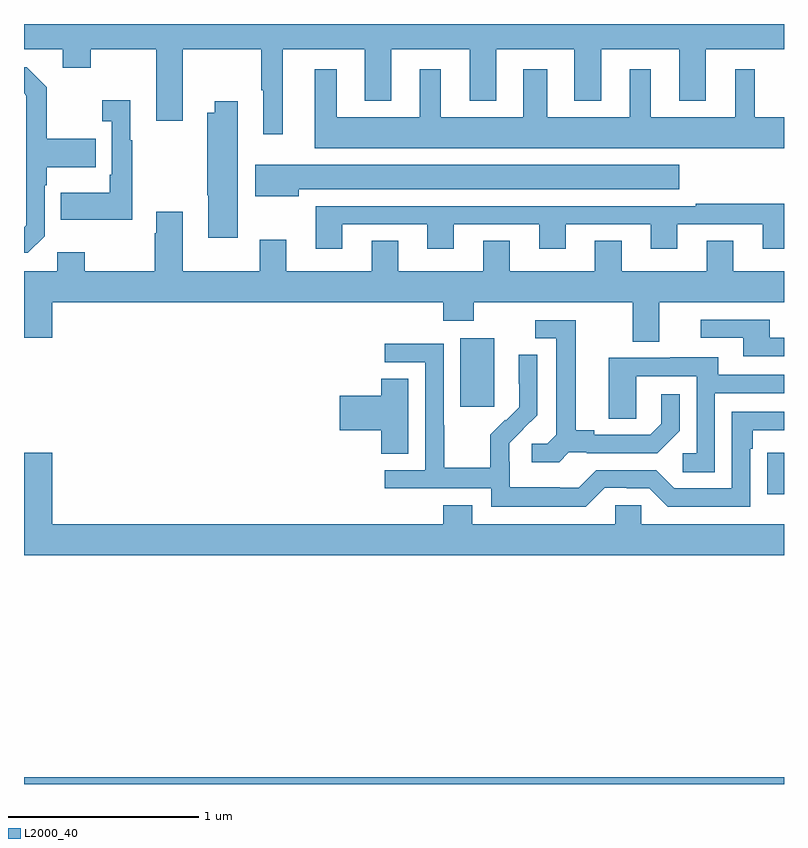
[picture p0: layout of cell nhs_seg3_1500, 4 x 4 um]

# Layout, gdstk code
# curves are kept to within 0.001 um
import gdstk
lib = gdstk.Library(unit=1e-6, precision=1e-09)
def R(c, l, rs):  # rectangles x0, y0, x1, y1
    for r in rs: c.add(gdstk.rectangle(r[:2], r[2:], *l))
def P(c, l, *ps):  # polygons
    for p in ps: c.add(gdstk.Polygon(p, *l))
L2000_40 = (2000, 40)

nhs_seg3_1500 = lib.new_cell('nhs_seg3_1500')
R(nhs_seg3_1500, L2000_40, [(189,678.4,193,678.436), (192.913,679.926,193,680.144), (191.297,680.385,191.476,680.746)])
P(nhs_seg3_1500, L2000_40, [(190.363,682.268),(190.793,682.268),(190.793,681.995),(190.933,681.995),(190.933,682.268),(191.345,682.268),(191.345,681.995),(191.485,681.995),(191.485,682.268),(191.897,682.268),(191.897,681.995),(192.037,681.995),(192.037,682.268),(192.449,682.268),(192.449,681.995),(192.589,681.995),(192.589,682.268),(193,682.268),(193,682.4),(189,682.4),(189,682.268),(189.203,682.268),(189.203,682.169),(189.351,682.169),(189.351,682.268),(189.695,682.268),(189.695,681.891),(189.835,681.891),(189.835,682.268),(190.249,682.268),(190.249,682.052),(190.259,682.052),(190.259,681.819),(190.363,681.819)],
  [(189.108,681.282),(189.108,681.551),(189.121,681.551),(189.121,681.647),(189.377,681.647),(189.377,681.795),(189.121,681.795),(189.121,682.067),(189.015,682.173),(189,682.173),(189,682.035),(189.012,682.023),(189.012,681.342),(189,681.33),(189,681.195),(189.021,681.195)],
  [(193,681.91),(192.847,681.91),(192.847,682.162),(192.743,682.162),(192.743,681.91),(192.298,681.91),(192.298,682.162),(192.188,682.162),(192.188,681.91),(191.755,681.91),(191.755,682.162),(191.627,682.162),(191.627,681.91),(191.194,681.91),(191.194,682.162),(191.084,682.162),(191.084,681.91),(190.645,681.91),(190.645,682.162),(190.529,682.162),(190.529,681.746),(193,681.746)],
  [(189.571,681.787),(189.559,681.787),(189.559,682),(189.411,682),(189.411,681.887),(189.462,681.887),(189.462,681.607),(189.45,681.607),(189.45,681.511),(189.193,681.511),(189.193,681.371),(189.571,681.371)],
  [(190.126,681.994),(190.004,681.994),(190.004,681.934),(189.964,681.934),(189.964,681.499),(189.971,681.499),(189.971,681.276),(190.126,681.276)],
  [(190.447,681.53),(192.448,681.53),(192.448,681.658),(190.218,681.658),(190.218,681.494),(190.447,681.494)],
  [(190.675,681.345),(191.123,681.345),(191.123,681.216),(191.263,681.216),(191.263,681.345),(191.711,681.345),(191.711,681.216),(191.851,681.216),(191.851,681.345),(192.299,681.345),(192.299,681.216),(192.439,681.216),(192.439,681.345),(192.887,681.345),(192.887,681.216),(193,681.216),(193,681.454),(192.535,681.454),(192.535,681.441),(190.535,681.441),(190.535,681.216),(190.675,681.216)],
  [(191.207,680.837),(191.367,680.837),(191.367,680.936),(192.203,680.936),(192.203,680.728),(192.343,680.728),(192.343,680.936),(193,680.936),(193,681.1),(192.733,681.1),(192.733,681.26),(192.593,681.26),(192.593,681.1),(192.145,681.1),(192.145,681.26),(192.005,681.26),(192.005,681.1),(191.557,681.1),(191.557,681.26),(191.417,681.26),(191.417,681.1),(190.969,681.1),(190.969,681.26),(190.829,681.26),(190.829,681.1),(190.381,681.1),(190.381,681.265),(190.241,681.265),(190.241,681.1),(189.835,681.1),(189.835,681.412),(189.695,681.412),(189.695,681.299),(189.688,681.299),(189.688,681.1),(189.321,681.1),(189.321,681.199),(189.174,681.199),(189.174,681.1),(189,681.1),(189,680.748),(189.148,680.748),(189.148,680.936),(191.207,680.936)],
  [(193,680.748),(192.925,680.748),(192.925,680.844),(192.561,680.844),(192.561,680.748),(192.785,680.748),(192.785,680.652),(193,680.652)],
  [(191.868,680.145),(191.962,680.145),(191.962,680.142),(192.334,680.142),(192.45,680.258),(192.45,680.452),(192.353,680.452),(192.353,680.295),(192.296,680.238),(192.001,680.238),(192.001,680.261),(191.905,680.261),(191.905,680.841),(191.691,680.841),(191.691,680.745),(191.801,680.745),(191.801,680.237),(191.754,680.19),(191.673,680.19),(191.673,680.093),(191.816,680.093)],
  [(192.057,679.959),(192.173,679.959),(192.173,679.956),(192.291,679.956),(192.387,679.86),(192.822,679.86),(192.822,680.165),(192.835,680.165),(192.835,680.262),(193,680.262),(193,680.358),(192.726,680.358),(192.726,679.956),(192.423,679.956),(192.327,680.052),(192.012,680.052),(191.919,679.959),(191.819,679.959),(191.819,679.963),(191.556,679.963),(191.556,680.097),(191.554,680.097),(191.554,680.194),(191.7,680.342),(191.7,680.66),(191.604,680.66),(191.604,680.506),(191.606,680.506),(191.606,680.384),(191.535,680.313),(191.532,680.316),(191.455,680.239),(191.455,680.065),(191.211,680.065),(191.211,680.288),(191.208,680.288),(191.208,680.718),(190.899,680.718),(190.899,680.619),(191.112,680.619),(191.112,680.052),(190.899,680.052),(190.899,679.956),(191.46,679.956),(191.46,679.859),(191.957,679.859)],
  [(192.636,680.457),(193,680.457),(193,680.553),(192.655,680.553),(192.655,680.647),(192.401,680.647),(192.401,680.643),(192.077,680.643),(192.077,680.323),(192.222,680.323),(192.222,680.547),(192.54,680.547),(192.54,680.142),(192.468,680.142),(192.468,680.041),(192.636,680.041)],
  [(191.023,680.534),(190.88,680.534),(190.88,680.444),(190.662,680.444),(190.662,680.261),(190.88,680.261),(190.88,680.137),(191.023,680.137)],
  [(193,679.768),(192.249,679.768),(192.249,679.866),(192.111,679.866),(192.111,679.768),(191.359,679.768),(191.359,679.867),(191.207,679.867),(191.207,679.768),(189.148,679.768),(189.148,680.143),(189,680.143),(189,679.604),(193,679.604)])

lib.write_gds('nhs_seg3_1500.gds')
